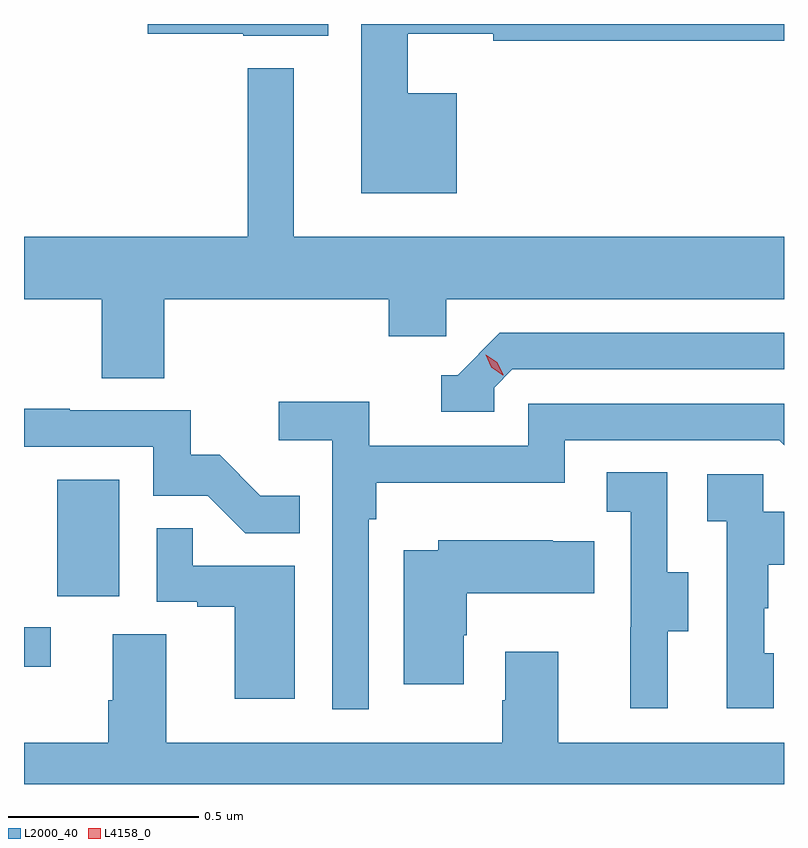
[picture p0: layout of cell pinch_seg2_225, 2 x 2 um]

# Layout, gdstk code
import gdstk
lib = gdstk.Library(unit=1e-6, precision=1e-09)
def R(c, l, rs):  # rectangles x0, y0, x1, y1
    for r in rs: c.add(gdstk.rectangle(r[:2], r[2:], *l))
def P(c, l, *ps):  # polygons
    for p in ps: c.add(gdstk.Polygon(p, *l))
L2000_40 = (2000, 40)
L4158_0 = (4158, 0)

pinch_seg2_225 = lib.new_cell('pinch_seg2_225')
R(pinch_seg2_225, L2000_40, [(1000.175,651.996,1000.246,652.101), (1000.262,652.182,1000.426,652.489)])
P(pinch_seg2_225, L2000_40, [(1001.314,653.506),(1001.185,653.506),(1001.185,653.663),(1001.41,653.663),(1001.41,653.644),(1002.175,653.644),(1002.175,653.688),(1001.063,653.688),(1001.063,653.243),(1001.314,653.243)],
  [(1000.975,653.688),(1000.5,653.688),(1000.5,653.663),(1000.752,653.663),(1000.752,653.657),(1000.975,653.657)],
  [(1000.544,652.964),(1001.135,652.964),(1001.135,652.866),(1001.286,652.866),(1001.286,652.964),(1002.175,652.964),(1002.175,653.128),(1000.885,653.128),(1000.885,653.572),(1000.764,653.572),(1000.764,653.128),(1000.175,653.128),(1000.175,652.964),(1000.379,652.964),(1000.379,652.756),(1000.544,652.756)],
  [(1001.412,652.731),(1001.46,652.779),(1002.175,652.779),(1002.175,652.875),(1001.427,652.875),(1001.316,652.764),(1001.273,652.764),(1001.273,652.668),(1001.412,652.668)],
  [(1001.082,652.385),(1001.102,652.385),(1001.102,652.481),(1001.598,652.481),(1001.598,652.593),(1002.162,652.593),(1002.175,652.58),(1002.175,652.689),(1001.502,652.689),(1001.502,652.578),(1001.084,652.578),(1001.084,652.694),(1000.845,652.694),(1000.845,652.592),(1000.986,652.592),(1000.986,651.885),(1001.082,651.885)],
  [(1000.901,652.447),(1000.797,652.447),(1000.69,652.554),(1000.614,652.554),(1000.614,652.671),(1000.295,652.671),(1000.295,652.676),(1000.175,652.676),(1000.175,652.575),(1000.515,652.575),(1000.515,652.446),(1000.659,652.446),(1000.757,652.348),(1000.901,652.348)],
  [(1001.869,652.09),(1001.923,652.09),(1001.923,652.245),(1001.868,652.245),(1001.868,652.508),(1001.709,652.508),(1001.709,652.405),(1001.772,652.405),(1001.772,652.101),(1001.771,652.101),(1001.771,651.888),(1001.869,651.888)],
  [(1002.148,652.032),(1002.123,652.032),(1002.123,652.151),(1002.133,652.151),(1002.133,652.265),(1002.175,652.265),(1002.175,652.405),(1002.12,652.405),(1002.12,652.503),(1001.973,652.503),(1001.973,652.379),(1002.024,652.379),(1002.024,651.888),(1002.148,651.888)],
  [(1000.888,652.263),(1000.619,652.263),(1000.619,652.361),(1000.524,652.361),(1000.524,652.167),(1000.631,652.167),(1000.631,652.155),(1000.73,652.155),(1000.73,651.912),(1000.888,651.912)],
  [(1001.332,652.079),(1001.34,652.079),(1001.34,652.19),(1001.675,652.19),(1001.675,652.327),(1001.567,652.327),(1001.567,652.33),(1001.265,652.33),(1001.265,652.303),(1001.174,652.303),(1001.174,651.951),(1001.332,651.951)],
  [(1001.581,652.036),(1001.441,652.036),(1001.441,651.908),(1001.434,651.908),(1001.434,651.796),(1000.549,651.796),(1000.549,652.082),(1000.409,652.082),(1000.409,651.908),(1000.397,651.908),(1000.397,651.796),(1000.175,651.796),(1000.175,651.688),(1002.175,651.688),(1002.175,651.796),(1001.581,651.796)])
P(pinch_seg2_225, L4158_0, [(1001.435,652.764),(1001.405,652.785),(1001.39,652.818),(1001.39,652.818),(1001.39,652.818),(1001.42,652.798),(1001.436,652.765),(1001.436,652.764)])

lib.write_gds('pinch_seg2_225.gds')
